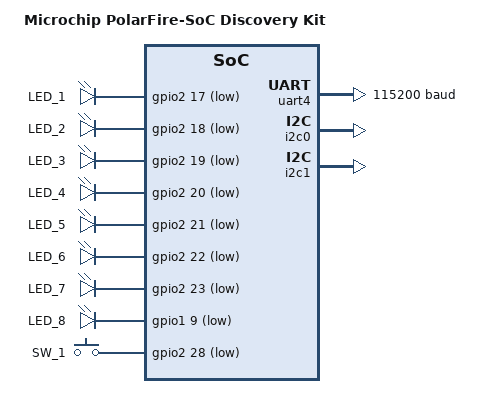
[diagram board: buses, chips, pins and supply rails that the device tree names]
/*
 * Copyright (c) 2020-2021 Microchip Technology Inc
 *
 * SPDX-License-Identifier: Apache-2.0
 */

/dts-v1/;
#include <microchip/mpfs.dtsi>
#include <zephyr/dt-bindings/input/input-event-codes.h>
#include <mem.h>

/ {
	model = "Microchip PolarFire-SoC Discovery Kit";
	compatible = "microchip,mpfs-disco-kit", "microchip,mpfs";
	aliases {
		led0 = &led1;
		sw0 = &sw1;
		i2c0 = &i2c0;
		i2c1 = &i2c1;
	};

	chosen {
		zephyr,console = &uart4;
		zephyr,shell-uart = &uart4;
		zephyr,sram = &sram1;
	};

	leds {
		compatible = "gpio-leds";

		// Start indexing at 0 to be compatible with exemple, the labels
		// match the board labels
		led1: led1 {
			gpios = <&gpio2 17 GPIO_ACTIVE_LOW>;
			label = "LED_1";
		};
		led2: led2 {
			gpios = <&gpio2 18 GPIO_ACTIVE_LOW>;
			label = "LED_2";
		};
		led3: led3 {
			gpios = <&gpio2 19 GPIO_ACTIVE_LOW>;
			label = "LED_3";
		};
		led4: led4 {
			gpios = <&gpio2 20 GPIO_ACTIVE_LOW>;
			label = "LED_4";
		};
		led5: led5 {
			gpios = <&gpio2 21 GPIO_ACTIVE_LOW>;
			label = "LED_5";
		};
		led6: led6 {
			gpios = <&gpio2 22 GPIO_ACTIVE_LOW>;
			label = "LED_6";
		};
		led7: led7 {
			gpios = <&gpio2 23 GPIO_ACTIVE_LOW>;
			label = "LED_7";
		};
		led8: led8 {
			gpios = <&gpio1 9 GPIO_ACTIVE_LOW>;
			label = "LED_8";
		};
	};

	keys {
		compatible = "gpio-keys";
		// for the moment we use DIP 8 as the sw0, clarification need to be
		// made on the mapping for button 1 and 2
		sw1: sw1 {
			gpios = <&gpio2 28 GPIO_ACTIVE_LOW>;
			label = "SW_1";
			zephyr,code = <INPUT_KEY_0>;
		};
	};
};

&uart4 {
	status = "okay";
	current-speed = <115200>;
	clock-frequency = <150000000>;
};

&gpio2 {
	status = "okay";
};

&i2c0 {
	status = "okay";
};

&i2c1 {
	status = "okay";
};
